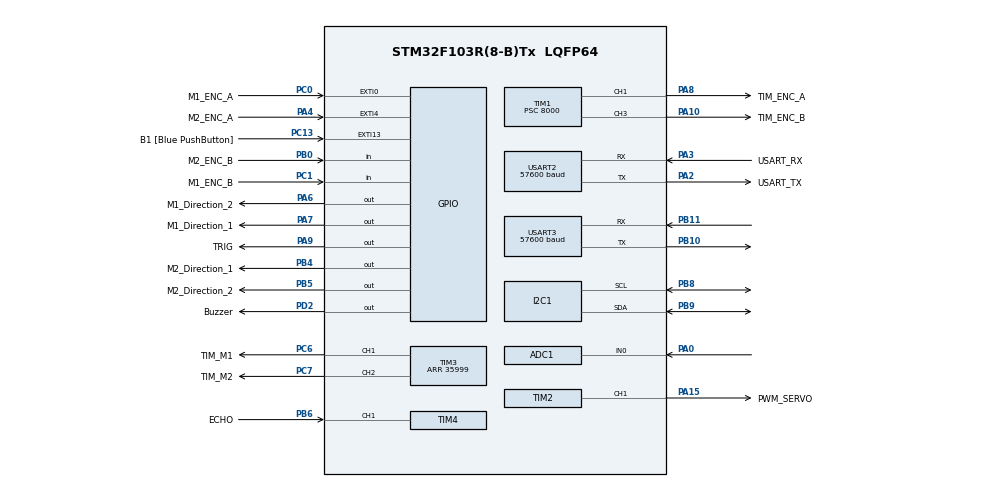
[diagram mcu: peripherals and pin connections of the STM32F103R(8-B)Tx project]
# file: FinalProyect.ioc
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ADC1.Channel-0\#ChannelRegularConversion=ADC_CHANNEL_0
ADC1.ContinuousConvMode=ENABLE
ADC1.NbrOfConversionFlag=1
ADC1.Rank-0\#ChannelRegularConversion=1
ADC1.SamplingTime-0\#ChannelRegularConversion=ADC_SAMPLETIME_28CYCLES_5
ADC1.master=1
Mcu.Family=STM32F1
Mcu.Name=STM32F103R(8-B)Tx
Mcu.Package=LQFP64
NVIC.EXTI0_IRQn=true\:0\:0\:false\:false\:true\:true\:true\:true
NVIC.EXTI15_10_IRQn=true\:0\:0\:false\:false\:true\:true\:true\:true
NVIC.EXTI4_IRQn=true\:0\:0\:false\:false\:true\:true\:true\:true
NVIC.PriorityGroup=NVIC_PRIORITYGROUP_4
NVIC.TIM1_UP_IRQn=true\:0\:0\:false\:false\:true\:true\:true\:true
NVIC.TIM4_IRQn=true\:0\:0\:false\:false\:true\:true\:true\:true
NVIC.USART3_IRQn=true\:0\:0\:false\:false\:true\:true\:true\:true
PA0-WKUP.Signal=ADCx_IN0
PA10.GPIO_Label=TIM_ENC_B
PA10.Signal=S_TIM1_CH3
PA13.GPIO_Label=TMS
PA13.Mode=Serial_Wire
PA13.Signal=SYS_JTMS-SWDIO
PA14.GPIO_Label=TCK
PA14.Mode=Serial_Wire
PA14.Signal=SYS_JTCK-SWCLK
PA15.GPIO_Label=PWM_SERVO
PA15.Signal=S_TIM2_CH1_ETR
PA2.GPIO_Label=USART_TX
PA2.GPIO_Mode=GPIO_MODE_AF_PP
PA2.GPIO_PuPd=GPIO_NOPULL
PA2.GPIO_Speed=GPIO_SPEED_FREQ_LOW
PA2.Mode=Asynchronous
PA2.Signal=USART2_TX
PA3.GPIO_Label=USART_RX
PA3.GPIO_Mode=GPIO_MODE_AF_PP
PA3.GPIO_PuPd=GPIO_NOPULL
PA3.GPIO_Speed=GPIO_SPEED_FREQ_LOW
PA3.Mode=Asynchronous
PA3.Signal=USART2_RX
PA4.GPIO_Label=M2_ENC_A
PA4.Signal=GPXTI4
PA6.GPIO_Label=M1_Direction_2
PA6.Signal=GPIO_Output
PA7.GPIO_Label=M1_Direction_1
PA7.Signal=GPIO_Output
PA8.GPIO_Label=TIM_ENC_A
PA8.Signal=S_TIM1_CH1
PA9.GPIO_Label=TRIG
PA9.Signal=GPIO_Output
PB0.GPIO_Label=M2_ENC_B
PB0.Signal=GPIO_Input
PB10.Mode=Asynchronous
PB10.Signal=USART3_TX
PB11.Mode=Asynchronous
PB11.Signal=USART3_RX
PB3.Signal=SYS_JTDO-TRACESWO
PB4.GPIO_Label=M2_Direction_1
PB4.Signal=GPIO_Output
PB5.GPIO_Label=M2_Direction_2
PB5.Signal=GPIO_Output
PB6.GPIO_Label=ECHO
PB6.Signal=S_TIM4_CH1
PB8.Mode=I2C
PB8.Signal=I2C1_SCL
PB9.Mode=I2C
PB9.Signal=I2C1_SDA
PC0.GPIO_Label=M1_ENC_A
PC0.GPIO_ModeDefaultEXTI=GPIO_MODE_IT_FALLING
PC0.Signal=GPXTI0
PC1.GPIO_Label=M1_ENC_B
PC1.GPIO_PuPd=GPIO_PULLUP
PC1.Signal=GPIO_Input
PC13-TAMPER-RTC.GPIO_Label=B1 [Blue PushButton]
PC13-TAMPER-RTC.GPIO_ModeDefaultEXTI=GPIO_MODE_IT_FALLING
PC13-TAMPER-RTC.GPIO_PuPd=GPIO_NOPULL
PC13-TAMPER-RTC.Signal=GPXTI13
PC14-OSC32_IN.Mode=LSE-External-Clock-Source
PC14-OSC32_IN.Signal=RCC_OSC32_IN
PC15-OSC32_OUT.Mode=LSE-External-Clock-Source
PC15-OSC32_OUT.Signal=RCC_OSC32_OUT
PC6.GPIO_Label=TIM_M1
PC6.Signal=S_TIM3_CH1
PC7.GPIO_Label=TIM_M2
PC7.Signal=S_TIM3_CH2
PD0-OSC_IN.Mode=HSE-External-Oscillator
PD0-OSC_IN.Signal=RCC_OSC_IN
PD1-OSC_OUT.Mode=HSE-External-Oscillator
PD1-OSC_OUT.Signal=RCC_OSC_OUT
PD2.GPIO_Label=Buzzer
PD2.Signal=GPIO_Output
ProjectManager.HeapSize=0x200
ProjectManager.StackSize=0x400
ProjectManager.TargetToolchain=STM32CubeIDE
RCC.ADCPresc=RCC_ADCPCLK2_DIV6
RCC.AHBFreq_Value=72000000
RCC.APB1CLKDivider=RCC_HCLK_DIV2
RCC.APB1Freq_Value=36000000
RCC.APB1TimFreq_Value=72000000
RCC.APB2Freq_Value=72000000
RCC.APB2TimFreq_Value=72000000
RCC.HCLKFreq_Value=72000000
RCC.PLLMUL=RCC_PLL_MUL9
RCC.PLLSourceVirtual=RCC_PLLSOURCE_HSE
RCC.RTCClockSelection=RCC_RTCCLKSOURCE_LSE
RCC.SYSCLKFreq_VALUE=72000000
RCC.SYSCLKSource=RCC_SYSCLKSOURCE_PLLCLK
RCC.USBFreq_Value=72000000
SH.ADCx_IN0.0=ADC1_IN0,IN0
SH.S_TIM1_CH1.0=TIM1_CH1,PWM Generation1 CH1
SH.S_TIM1_CH3.0=TIM1_CH3,PWM Generation3 CH3
SH.S_TIM2_CH1_ETR.0=TIM2_CH1,PWM Generation1 CH1
SH.S_TIM3_CH1.0=TIM3_CH1,PWM Generation1 CH1
SH.S_TIM3_CH2.0=TIM3_CH2,PWM Generation2 CH2
SH.S_TIM4_CH1.0=TIM4_CH1,Input_Capture1_from_TI1
TIM1.AutoReloadPreload=TIM_AUTORELOAD_PRELOAD_ENABLE
TIM1.Channel-PWM\ Generation1\ CH1=TIM_CHANNEL_1
TIM1.Channel-PWM\ Generation3\ CH3=TIM_CHANNEL_3
TIM1.Period=100-1
TIM1.Prescaler=8000
TIM2.AutoReloadPreload=TIM_AUTORELOAD_PRELOAD_DISABLE
TIM2.Channel-PWM\ Generation1\ CH1=TIM_CHANNEL_1
TIM2.Period=40000-1
TIM2.Prescaler=36-1
TIM3.Channel-PWM\ Generation1\ CH1=TIM_CHANNEL_1
TIM3.Channel-PWM\ Generation2\ CH2=TIM_CHANNEL_2
TIM3.OCFastMode_PWM-PWM\ Generation1\ CH1=TIM_OCFAST_ENABLE
TIM3.Period=35999
TIM4.Channel-Input_Capture1_from_TI1=TIM_CHANNEL_1
TIM4.Prescaler=71
USART2.BaudRate=57600
USART2.VirtualMode=VM_ASYNC
USART3.BaudRate=57600
USART3.VirtualMode=VM_ASYNC
VP_TIM1_VS_ClockSourceINT.Mode=Internal
VP_TIM2_VS_ClockSourceINT.Mode=Internal
VP_TIM3_VS_ClockSourceINT.Mode=Internal
VP_TIM4_VS_ClockSourceINT.Mode=Internal
board=NUCLEO-F103RB

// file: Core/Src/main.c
	/* USER CODE BEGIN Header */
	/**
	  ******************************************************************************
	  * @file           : main.c
	  * @brief          : Main program body
	  ******************************************************************************
	  * @attention
	  *
	  * Copyright (c) 2025 STMicroelectronics.
	  * All rights reserved.
	  *
	  * This software is licensed under terms that can be found in the LICENSE file
	  * in the root directory of this software component.
	  * If no LICENSE file comes with this software, it is provided AS-IS.
	  *
	  ******************************************************************************
	  */
	/* USER CODE END Header */
	/* Includes ------------------------------------------------------------------*/
	#include "main.h"

	/* Private includes ----------------------------------------------------------*/
	/* USER CODE BEGIN Includes */
	#include <stdbool.h>
	#include <stdio.h>
	#include <string.h>
	#include <stdlib.h>
	/* USER CODE END Includes */

	/* Private typedef -----------------------------------------------------------*/

	/* Private define ------------------------------------------------------------*/
	/* USER CODE BEGIN PD */
	#define TRIG_PIN GPIO_PIN_9
	#define TRIG_PORT GPIOA

	/* USER CODE END PD */

	/* Private macro -------------------------------------------------------------*/
	/* USER CODE BEGIN PM */
	#define BNO055_ADDR (0x28 << 1)   // Dirección I2C del BNO055 para HAL
	/* USER CODE END PM */

	/* Private variables ---------------------------------------------------------*/
	ADC_HandleTypeDef hadc1;

	I2C_HandleTypeDef hi2c1;

	TIM_HandleTypeDef htim1;
	TIM_HandleTypeDef htim2;
	TIM_HandleTypeDef htim3;
	TIM_HandleTypeDef htim4;

	UART_HandleTypeDef huart2;
	UART_HandleTypeDef huart3;

	/* USER CODE BEGIN PV */
	/* Private function prototypes -----------------------------------------------*/
	void SystemClock_Config(void);
	static void MX_GPIO_Init(void);
	static void MX_USART2_UART_Init(void);
	static void MX_ADC1_Init(void);
	static void MX_TIM1_Init(void);
	static void MX_TIM3_Init(void);
	static void MX_TIM2_Init(void);
	static void MX_TIM4_Init(void);
	static void MX_I2C1_Init(void);
	static void MX_USART3_UART_Init(void);
	/* USER CODE END PV */

	/* Private function prototypes -----------------------------------------------*/
	void SystemClock_Config(void);
	static void MX_GPIO_Init(void);
	static void MX_USART2_UART_Init(void);
	static void MX_ADC1_Init(void);
	static void MX_TIM1_Init(void);
	static void MX_TIM3_Init(void);
	static void MX_TIM2_Init(void);
	static void MX_TIM4_Init(void);
	static void MX_I2C1_Init(void);
	static void MX_USART3_UART_Init(void);
	/* USER CODE BEGIN PFP */

	void Direction(bool drive);
	void HCSR04_Read (void);
	void HAL_TIM_IC_CaptureCallback(TIM_HandleTypeDef *htim);
	void delay (uint16_t time);

	void PID_Position(float error_M1, float error_M2);
	void PID_Velocity(float error_M1, float error_M2);

	void PID_Servo(float error_serv);

	// lECTURA DE IMU
	void BNO055_Write(uint8_t reg, uint8_t value);
	uint8_t BNO055_Read(uint8_t reg);

	void get_head(void);
	extern I2C_HandleTypeDef hi2c1;
	void I2C_Scanner(void);
	/* USER CODE END PFP */

	/* Private user code ---------------------------------------------------------*/
	/* USER CODE BEGIN 0 */

	char msg[50];
	volatile uint8_t send_flag = 0;
	uint32_t isr_timestamp = 0;

	float velocity_M1;
	float velocity_M2;

	long position_M1 = 0;
	long position_M2 = 0;

	float last_position_M1 = 0;
	float last_position_M2 = 0;

	float PWM_M1 = 0;
	float PWM_M2 = 0;

	//1000 = derecha
	//2000 = recto
	//3000 = izquierda

	// VAriables UART reciver
	uint8_t rx_byte;
	char tx_buff[16];

	uint8_t last_cmd;
	uint8_t new_cmd;
	int manual_mode = 0;

	float d_time = 0.01;
	float ratio = 12 * 20.5;
	float circunference = 3.14*8.7;

	float delta_M1;
	float delta_M2;

	float target = 5;

	float distance_M1;
	float distance_M2;

	float head;
	float E_head;

	int reverse_servo = 0;

	// Setup of variables
	   float Vn = 50.0f; // cm/s
	   float accel = 2.0f;
	   float deccel = 2.0f;
	   float t1 = 2.0f; // aceleration time = 2 seconds
	   float t2 =8.0f; // starting deceleration slope
	   float T = 10.0f; // finishing movement
	   // deceleration time = 2 seconds
	   float SP_Pos = 0.0f;
	   float SP_Vel_M1 = 0.0f;
	   float SP_Vel_M2 = 0.0f;

	   float Error_Pos_M1 = 0.0f;
	   float Error_Vel_M1 = 0.0f;
	   float Error_Pos_M2 = 0.0f;
	   float Error_Vel_M2 = 0.0f;

	   float Corrected_Pos_M1 = 0.0f;
	   float Corrected_Vel_M1 = 0.0f;

	   float Corrected_Pos_M2 = 0.0f;
	   float Corrected_Vel_M2 = 0.0f;

	   float time_ctl = 0.0f;
	   int state = 1;

	   float turn = 0;
	   int emergency_stop = 0;

			int Saved_SP_Vel_M1 = 0;
			int Saved_SP_Vel_M2 = 0;
			int Saved_PWM_M1 = 0;
			int Saved_PWM_M2 = 0;
			int pause = 0;

	uint32_t IC_Val1 = 0;
	uint32_t IC_Val2 = 0;
	uint32_t Difference = 0;
	uint8_t Is_First_Captured = 0;  // is the first value captured ?
	uint32_t Distance  = 0;
	int start = 0;

	int timer_flag = 1;

	float last_ctl = 0;
	float dt;

uint8_t buffer[1];

	/* USER CODE END 0 */

	/**
	  * @brief  The application entry point.
	  * @retval int
	  */
	int main(void)
	{

	  /* MCU Configuration--------------------------------------------------------*/

	  /* Reset of all peripherals, Initializes the Flash interface and the Systick. */
	  HAL_Init();

	  /* Configure the system clock */
	  SystemClock_Config();

	  /* Initialize all configured peripherals */
	  MX_GPIO_Init();
	  MX_USART2_UART_Init();
	  MX_ADC1_Init();
	  MX_TIM1_Init();
	  MX_TIM3_Init();
	  MX_TIM2_Init();
	  MX_TIM4_Init();
	  MX_I2C1_Init();
	  MX_USART3_UART_Init();
	  /* USER CODE BEGIN 2 */
	  // TIME INTERRUPT
	  HAL_TIM_Base_Start_IT(&htim1);
	  // PMW SERVO
	  HAL_TIM_PWM_Start(&htim2, TIM_CHANNEL_1);

	  // PWM MOTORS
	  HAL_TIM_PWM_Start(&htim3, TIM_CHANNEL_1);
	  HAL_TIM_PWM_Start(&htim3, TIM_CHANNEL_2);
	  // Signal ultrasonic
	  HAL_TIM_IC_Start_IT(&htim4, TIM_CHANNEL_1);

	  // Telecom interrupt
	  HAL_UART_Receive_IT(&huart3, &rx_byte, 1);

	  HAL_NVIC_SetPriority(TIM1_UP_TIM10_IRQn, 0, 0);
	  HAL_NVIC_SetPriority(TIM3_IRQn,         1, 0);
	  HAL_NVIC_SetPriority(TIM4_IRQn,         3, 0);

	  /* USER CODE END 2 */

	  /* Infinite loop */
	  /* USER CODE BEGIN WHILE */

		I2C_Scanner();
		Direction(0);

		// Leer ID para verificar sensor
		uint8_t id = BNO055_Read(0x00);

		if(id != 0xA0) {
			// ERROR: Sensor no detectado -> print once and go to safe idle (don't busy-loop UART)
			sprintf(msg, "Error en la conexion del BNO055: ID = 0x%02X\r\n", id);
			HAL_UART_Transmit(&huart3, (uint8_t*)msg, strlen(msg), 100);
			// safe idle to allow interrupts and debugger; blink or delay instead of continuous printing
			while(1)
			{
				HAL_Delay(500);
			}
		}

		// Cambiar a CONFIG MODE
		BNO055_Write(0x3D, 0x00);
		HAL_Delay(25);

		// Cambiar a NDOF (9DOF fusion)
		BNO055_Write(0x3D, 0x0C);
		HAL_Delay(20);

    while (1)
    {
    int time_manual = 0;
    int CH1_DC = 0;
    while (manual_mode)
    {
        if (timer_flag) {   // 1ms timer tick
            time_manual += 1;
            timer_flag = 0;
        }

        // every 100ms
        if (time_manual >= 100)
        {
            time_manual = 0;

            // If no new key received, stop motors
            if (!new_cmd) {
                last_cmd = 0;
            }

            new_cmd = 0; // consume key

            switch (last_cmd)
            {
                case 0:
                    CH1_DC = 0;
                    TIM3->CCR1 = CH1_DC;
                    TIM3->CCR2 = CH1_DC;
                    break;

                case 'w':  // forward
                    Direction(0);
                    CH1_DC += 1000;
                    if (CH1_DC > 40000) CH1_DC = 40000;

                    TIM3->CCR1 = CH1_DC;
                    TIM3->CCR2 = CH1_DC;
                    break;

                case 'a':  // left
                    turn += 5;
                    if (turn >= 360) turn = 0;
                    get_head();
                    PID_Servo(E_head);
                    break;

                case 's':  // backward
                    Direction(1);   // backward direction?
                    CH1_DC += 1000;
                    if (CH1_DC > 40000) CH1_DC = 40000;

                    TIM3->CCR1 = CH1_DC;
                    TIM3->CCR2 = CH1_DC;
                    break;

                case 'd':  // right
                    turn -= 5;
                    if (turn < 0) turn = 360;
                    get_head();
                    PID_Servo(E_head);
                    break;
            }
        }

        HAL_Delay(1);  // small delay but not blocking too much
    }

    /* USER CODE END WHILE */

		/* USER CODE BEGIN 3 */

//		  HCSR04_Read();
		  get_head();        // keep reading IMU in main loop

//		  if (Distance < 30)
//		  {
//
//		      emergency_stop = 1;
//		      state = 0;
//
//		      TIM3->CCR1 = 0;
//		      TIM3->CCR2 = 0;
//
//		      timer_flag = 0;
//		      HAL_Delay(3000);
//		  }

			// If timer_flag is set (TIM1 fired), run control computations here (outside ISR)
		if (timer_flag)
		{
			timer_flag = 0;

			//isr_timestamp = HAL_GetTick();
			//time_ctl = (float)isr_timestamp / 1000.0f;

			time_ctl += 0.01;

			// Copy encoder positions atomically
			__disable_irq();
			long pos1 = position_M1;
			long pos2 = position_M2;
			__enable_irq();

			// Compute distances and velocities
			distance_M1 = (pos1 * circunference) / ratio;
			delta_M1    = distance_M1 - last_position_M1;
			velocity_M1 = delta_M1 / d_time;
			last_position_M1 = distance_M1;

			distance_M2 = (pos2 * circunference) / ratio;
			delta_M2    = distance_M2 - last_position_M2;
			velocity_M2 = delta_M2 / d_time;
			last_position_M2 = distance_M2;

			//---------------------------------------------------------------------
			// TRAPEZOIDAL PROFILE HERE
			//---------------------------------------------------------------------
			if (state != 0)
			{
				float t = time_ctl;

				switch (state)
				{
					case 0:
						SP_Vel_M1 = 0;
						SP_Vel_M2 = 0;
						break;
					case 1: // ACCEL
						SP_Vel_M1 = (t / t1) * Vn;
						SP_Vel_M2 = SP_Vel_M1;
						SP_Pos    = 0.5f * SP_Vel_M1 * t;

						if (t >= t1)
							state = 2;
						break;

					case 2: // CRUISE
						SP_Vel_M1 = Vn;
						SP_Vel_M2 = Vn;
						SP_Pos = (0.5f * t1 * Vn) +
								 Vn * (t - t1);

						if (t >= t2)
							state = 3;
						break;

					case 3: // DECCEL
					{
						float vel_dec = Vn * (T - t) / (T - t2);

						SP_Vel_M1 = vel_dec;
						SP_Vel_M2 = vel_dec;

						SP_Pos = (0.5f * t1 * Vn) +
								 Vn * (t2 - t1) +
								 0.5f * (Vn + vel_dec) * (t - t2);

						if (t >= T)
						{
							SP_Vel_M1 = 0;
							SP_Vel_M2 = 0;

							//state = 0;
						}

					break;
					}

					default:
						state = 0;
						break;

				}
			}

			//---------------------------------------------------------------------

			// Compute errors AFTER generating SP_Pos / SP_Vel
			Error_Pos_M1 = SP_Pos - distance_M1;
			Error_Vel_M1 = SP_Vel_M1 - velocity_M1;

			Error_Pos_M2 = SP_Pos - distance_M2;
			Error_Vel_M2 = SP_Vel_M2 - velocity_M2;

			PID_Position(Error_Pos_M1, Error_Pos_M2);
			PID_Velocity(Error_Vel_M1, Error_Vel_M2);

			send_flag = 1;
		}

		  PID_Servo(E_head);

		  // Optional: start motion on some condition (kept commented as in original)
		  /*
		  if (start == 1)
		  {
			  Vn = 90.0f;
			  t1 = 2.0f;
			  t2 = 8.0f;
			  T = 10.0f;
			  SP_Pos = 0.0f;
			  time_ctl = 0.0f;
			  state = 1;
			  HAL_TIM_Base_Start_IT(&htim1);
			  start = 0;
		  }
		  */

		  // UART telemetry: non-blocking
		  if (send_flag)
		  {
			  send_flag = 0;
			  // compose telemetry safely and send (small, infrequent)
			  int len = snprintf(msg, sizeof(msg), "%lu, v1=%.3f, v2=%.3f, h=%.2f\r\n",
								 (unsigned long)isr_timestamp, velocity_M1, velocity_M2, head);
			  if (len > 0) HAL_UART_Transmit(&huart3, (uint8_t*)msg, (uint16_t)len, 20);
		  }

		}
	  /* USER CODE END 3 */
	}

	/**
	  * @brief System Clock Configuration
	  * @retval None
	  */
	void SystemClock_Config(void)
	{
	  RCC_OscInitTypeDef RCC_OscInitStruct = {0};
	  RCC_ClkInitTypeDef RCC_ClkInitStruct = {0};
	  RCC_PeriphCLKInitTypeDef PeriphClkInit = {0};

	  /** Initializes the RCC Oscillators according to the specified parameters
	  * in the RCC_OscInitTypeDef structure.
	  */
	  RCC_OscInitStruct.OscillatorType = RCC_OSCILLATORTYPE_HSE;
	  RCC_OscInitStruct.HSEState = RCC_HSE_ON;
	  RCC_OscInitStruct.HSEPredivValue = RCC_HSE_PREDIV_DIV1;
	  RCC_OscInitStruct.HSIState = RCC_HSI_ON;
	  RCC_OscInitStruct.PLL.PLLState = RCC_PLL_ON;
	  RCC_OscInitStruct.PLL.PLLSource = RCC_PLLSOURCE_HSE;
	  RCC_OscInitStruct.PLL.PLLMUL = RCC_PLL_MUL9;
	  if (HAL_RCC_OscConfig(&RCC_OscInitStruct) != HAL_OK)
	  {
		Error_Handler();
	  }

	  /** Initializes the CPU, AHB and APB buses clocks
	  */
	  RCC_ClkInitStruct.ClockType = RCC_CLOCKTYPE_HCLK|RCC_CLOCKTYPE_SYSCLK
								  |RCC_CLOCKTYPE_PCLK1|RCC_CLOCKTYPE_PCLK2;
	  RCC_ClkInitStruct.SYSCLKSource = RCC_SYSCLKSOURCE_PLLCLK;
	  RCC_ClkInitStruct.AHBCLKDivider = RCC_SYSCLK_DIV1;
	  RCC_ClkInitStruct.APB1CLKDivider = RCC_HCLK_DIV2;
	  RCC_ClkInitStruct.APB2CLKDivider = RCC_HCLK_DIV1;

	  if (HAL_RCC_ClockConfig(&RCC_ClkInitStruct, FLASH_LATENCY_2) != HAL_OK)
	  {
		Error_Handler();
	  }
	  PeriphClkInit.PeriphClockSelection = RCC_PERIPHCLK_ADC;
	  PeriphClkInit.AdcClockSelection = RCC_ADCPCLK2_DIV6;
	  if (HAL_RCCEx_PeriphCLKConfig(&PeriphClkInit) != HAL_OK)
	  {
		Error_Handler();
	  }
	}

	/**
	  * @brief ADC1 Initialization Function
	  * @param None
	  * @retval None
	  */
	static void MX_ADC1_Init(void)
	{

	  ADC_ChannelConfTypeDef sConfig = {0};

	  /** Common config
	  */
	  hadc1.Instance = ADC1;
	  hadc1.Init.ScanConvMode = ADC_SCAN_DISABLE;
	  hadc1.Init.ContinuousConvMode = ENABLE;
	  hadc1.Init.DiscontinuousConvMode = DISABLE;
	  hadc1.Init.ExternalTrigConv = ADC_SOFTWARE_START;
	  hadc1.Init.DataAlign = ADC_DATAALIGN_RIGHT;
	  hadc1.Init.NbrOfConversion = 1;
	  if (HAL_ADC_Init(&hadc1) != HAL_OK)
	  {
		Error_Handler();
	  }

	  /** Configure Regular Channel
	  */
	  sConfig.Channel = ADC_CHANNEL_0;
	  sConfig.Rank = ADC_REGULAR_RANK_1;
	  sConfig.SamplingTime = ADC_SAMPLETIME_28CYCLES_5;
	  if (HAL_ADC_ConfigChannel(&hadc1, &sConfig) != HAL_OK)
	  {
		Error_Handler();
	  }

	}

	/**
	  * @brief I2C1 Initialization Function
	  * @param None
	  * @retval None
	  */
	static void MX_I2C1_Init(void)
	{

	  hi2c1.Instance = I2C1;
	  hi2c1.Init.ClockSpeed = 100000;
	  hi2c1.Init.DutyCycle = I2C_DUTYCYCLE_2;
	  hi2c1.Init.OwnAddress1 = 0;
	  hi2c1.Init.AddressingMode = I2C_ADDRESSINGMODE_7BIT;
	  hi2c1.Init.DualAddressMode = I2C_DUALADDRESS_DISABLE;
	  hi2c1.Init.OwnAddress2 = 0;
	  hi2c1.Init.GeneralCallMode = I2C_GENERALCALL_DISABLE;
	  hi2c1.Init.NoStretchMode = I2C_NOSTRETCH_DISABLE;
	  if (HAL_I2C_Init(&hi2c1) != HAL_OK)
	  {
		Error_Handler();
	  }

	}

	/**
	  * @brief TIM1 Initialization Function
	  * @param None
	  * @retval None
	  */
	static void MX_TIM1_Init(void)
	{

	  TIM_ClockConfigTypeDef sClockSourceConfig = {0};
	  TIM_MasterConfigTypeDef sMasterConfig = {0};
	  TIM_OC_InitTypeDef sConfigOC = {0};
	  TIM_BreakDeadTimeConfigTypeDef sBreakDeadTimeConfig = {0};

	  htim1.Instance = TIM1;
	  htim1.Init.Prescaler = 800;
	  htim1.Init.CounterMode = TIM_COUNTERMODE_UP;
	  htim1.Init.Period = 1000-1;
	  htim1.Init.ClockDivision = TIM_CLOCKDIVISION_DIV1;
	  htim1.Init.RepetitionCounter = 0;
	  htim1.Init.AutoReloadPreload = TIM_AUTORELOAD_PRELOAD_ENABLE;
	  if (HAL_TIM_Base_Init(&htim1) != HAL_OK)
	  {
		Error_Handler();
	  }
	  sClockSourceConfig.ClockSource = TIM_CLOCKSOURCE_INTERNAL;
	  if (HAL_TIM_ConfigClockSource(&htim1, &sClockSourceConfig) != HAL_OK)
	  {
		Error_Handler();
	  }
	  if (HAL_TIM_PWM_Init(&htim1) != HAL_OK)
	  {
		Error_Handler();
	  }
	  sMasterConfig.MasterOutputTrigger = TIM_TRGO_RESET;
	  sMasterConfig.MasterSlaveMode = TIM_MASTERSLAVEMODE_DISABLE;
	  if (HAL_TIMEx_MasterConfigSynchronization(&htim1, &sMasterConfig) != HAL_OK)
	  {
		Error_Handler();
	  }
	  sConfigOC.OCMode = TIM_OCMODE_PWM1;
	  sConfigOC.Pulse = 0;
	  sConfigOC.OCPolarity = TIM_OCPOLARITY_HIGH;
	  sConfigOC.OCNPolarity = TIM_OCNPOLARITY_HIGH;
	  sConfigOC.OCFastMode = TIM_OCFAST_DISABLE;
	  sConfigOC.OCIdleState = TIM_OCIDLESTATE_RESET;
	  sConfigOC.OCNIdleState = TIM_OCNIDLESTATE_RESET;
	  if (HAL_TIM_PWM_ConfigChannel(&htim1, &sConfigOC, TIM_CHANNEL_1) != HAL_OK)
	  {
		Error_Handler();
	  }
	  if (HAL_TIM_PWM_ConfigChannel(&htim1, &sConfigOC, TIM_CHANNEL_3) != HAL_OK)
	  {
		Error_Handler();
	  }
	  sBreakDeadTimeConfig.OffStateRunMode = TIM_OSSR_DISABLE;
	  sBreakDeadTimeConfig.OffStateIDLEMode = TIM_OSSI_DISABLE;
	  sBreakDeadTimeConfig.LockLevel = TIM_LOCKLEVEL_OFF;
	  sBreakDeadTimeConfig.DeadTime = 0;
	  sBreakDeadTimeConfig.BreakState = TIM_BREAK_DISABLE;
	  sBreakDeadTimeConfig.BreakPolarity = TIM_BREAKPOLARITY_HIGH;
	  sBreakDeadTimeConfig.AutomaticOutput = TIM_AUTOMATICOUTPUT_DISABLE;
	  if (HAL_TIMEx_ConfigBreakDeadTime(&htim1, &sBreakDeadTimeConfig) != HAL_OK)
	  {
		Error_Handler();
	  }
	  HAL_TIM_MspPostInit(&htim1);

	}

	/**
	  * @brief TIM2 Initialization Function
	  * @param None
	  * @retval None
	  */
	static void MX_TIM2_Init(void)
	{

	  TIM_ClockConfigTypeDef sClockSourceConfig = {0};
	  TIM_MasterConfigTypeDef sMasterConfig = {0};
	  TIM_OC_InitTypeDef sConfigOC = {0};

	  htim2.Instance = TIM2;
	  htim2.Init.Prescaler = 36-1;
	  htim2.Init.CounterMode = TIM_COUNTERMODE_UP;
	  htim2.Init.Period = 40000-1;
	  htim2.Init.ClockDivision = TIM_CLOCKDIVISION_DIV1;
	  htim2.Init.AutoReloadPreload = TIM_AUTORELOAD_PRELOAD_DISABLE;
	  if (HAL_TIM_Base_Init(&htim2) != HAL_OK)
	  {
		Error_Handler();
	  }
	  sClockSourceConfig.ClockSource = TIM_CLOCKSOURCE_INTERNAL;
	  if (HAL_TIM_ConfigClockSource(&htim2, &sClockSourceConfig) != HAL_OK)
	  {
		Error_Handler();
	  }
	  if (HAL_TIM_PWM_Init(&htim2) != HAL_OK)
	  {
		Error_Handler();
	  }
	  sMasterConfig.MasterOutputTrigger = TIM_TRGO_RESET;
	  sMasterConfig.MasterSlaveMode = TIM_MASTERSLAVEMODE_DISABLE;
	  if (HAL_TIMEx_MasterConfigSynchronization(&htim2, &sMasterConfig) != HAL_OK)
	  {
		Error_Handler();
	  }
	  sConfigOC.OCMode = TIM_OCMODE_PWM1;
	  sConfigOC.Pulse = 0;
	  sConfigOC.OCPolarity = TIM_OCPOLARITY_HIGH;
	  sConfigOC.OCFastMode = TIM_OCFAST_DISABLE;
	  if (HAL_TIM_PWM_ConfigChannel(&htim2, &sConfigOC, TIM_CHANNEL_1) != HAL_OK)
	  {
		Error_Handler();
	  }
	  HAL_TIM_MspPostInit(&htim2);

	}

	/**
	  * @brief TIM3 Initialization Function
	  * @param None
	  * @retval None
	  */
	static void MX_TIM3_Init(void)
	{

	  TIM_ClockConfigTypeDef sClockSourceConfig = {0};
	  TIM_MasterConfigTypeDef sMasterConfig = {0};
	  TIM_OC_InitTypeDef sConfigOC = {0};

	  htim3.Instance = TIM3;
	  htim3.Init.Prescaler = 0;
	  htim3.Init.CounterMode = TIM_COUNTERMODE_UP;
	  htim3.Init.Period = 35999;
	  htim3.Init.ClockDivision = TIM_CLOCKDIVISION_DIV1;
	  htim3.Init.AutoReloadPreload = TIM_AUTORELOAD_PRELOAD_DISABLE;
	  if (HAL_TIM_Base_Init(&htim3) != HAL_OK)
	  {
		Error_Handler();
	  }
	  sClockSourceConfig.ClockSource = TIM_CLOCKSOURCE_INTERNAL;
	  if (HAL_TIM_ConfigClockSource(&htim3, &sClockSourceConfig) != HAL_OK)
	  {
		Error_Handler();
	  }
	  if (HAL_TIM_PWM_Init(&htim3) != HAL_OK)
	  {
		Error_Handler();
	  }
	  sMasterConfig.MasterOutputTrigger = TIM_TRGO_RESET;
	  sMasterConfig.MasterSlaveMode = TIM_MASTERSLAVEMODE_DISABLE;
	  if (HAL_TIMEx_MasterConfigSynchronization(&htim3, &sMasterConfig) != HAL_OK)
	  {
		Error_Handler();
	  }
	  sConfigOC.OCMode = TIM_OCMODE_PWM1;
	  sConfigOC.Pulse = 0;
	  sConfigOC.OCPolarity = TIM_OCPOLARITY_HIGH;
	  sConfigOC.OCFastMode = TIM_OCFAST_ENABLE;
	  if (HAL_TIM_PWM_ConfigChannel(&htim3, &sConfigOC, TIM_CHANNEL_1) != HAL_OK)
	  {
		Error_Handler();
	  }
	  sConfigOC.OCFastMode = TIM_OCFAST_DISABLE;
	  if (HAL_TIM_PWM_ConfigChannel(&htim3, &sConfigOC, TIM_CHANNEL_2) != HAL_OK)
	  {
		Error_Handler();
	  }
	  HAL_TIM_MspPostInit(&htim3);

	}

	/**
	  * @brief TIM4 Initialization Function
	  * @param None
	  * @retval None
	  */
	static void MX_TIM4_Init(void)
	{

	  TIM_ClockConfigTypeDef sClockSourceConfig = {0};
	  TIM_MasterConfigTypeDef sMasterConfig = {0};
	  TIM_IC_InitTypeDef sConfigIC = {0};

	  htim4.Instance = TIM4;
	  htim4.Init.Prescaler = 71;
	  htim4.Init.CounterMode = TIM_COUNTERMODE_UP;
	  htim4.Init.Period = 65535;
	  htim4.Init.ClockDivision = TIM_CLOCKDIVISION_DIV1;
	  htim4.Init.AutoReloadPreload = TIM_AUTORELOAD_PRELOAD_DISABLE;
	  if (HAL_TIM_Base_Init(&htim4) != HAL_OK)
	  {
		Error_Handler();
	  }
	  sClockSourceConfig.ClockSource = TIM_CLOCKSOURCE_INTERNAL;
	  if (HAL_TIM_ConfigClockSource(&htim4, &sClockSourceConfig) != HAL_OK)
	  {
		Error_Handler();
	  }
	  if (HAL_TIM_IC_Init(&htim4) != HAL_OK)
	  {
		Error_Handler();
	  }
	  sMasterConfig.MasterOutputTrigger = TIM_TRGO_RESET;
	  sMasterConfig.MasterSlaveMode = TIM_MASTERSLAVEMODE_DISABLE;
	  if (HAL_TIMEx_MasterConfigSynchronization(&htim4, &sMasterConfig) != HAL_OK)
	  {
		Error_Handler();
	  }
	  sConfigIC.ICPolarity = TIM_INPUTCHANNELPOLARITY_RISING;
	  sConfigIC.ICSelection = TIM_ICSELECTION_DIRECTTI;
	  sConfigIC.ICPrescaler = TIM_ICPSC_DIV1;
	  sConfigIC.ICFilter = 0;
	  if (HAL_TIM_IC_ConfigChannel(&htim4, &sConfigIC, TIM_CHANNEL_1) != HAL_OK)
	  {
		Error_Handler();
	  }

	}

	/**
	  * @brief USART2 Initialization Function
	  * @param None
	  * @retval None
	  */
	static void MX_USART2_UART_Init(void)
	{

	  huart2.Instance = USART2;
	  huart2.Init.BaudRate = 57600;
	  huart2.Init.WordLength = UART_WORDLENGTH_8B;
	  huart2.Init.StopBits = UART_STOPBITS_1;
	  huart2.Init.Parity = UART_PARITY_NONE;
	  huart2.Init.Mode = UART_MODE_TX_RX;
	  huart2.Init.HwFlowCtl = UART_HWCONTROL_NONE;
	  huart2.Init.OverSampling = UART_OVERSAMPLING_16;
	  if (HAL_UART_Init(&huart2) != HAL_OK)
	  {
		Error_Handler();
	  }

	}

	/**
	  * @brief USART3 Initialization Function
	  * @param None
	  * @retval None
	  */
	static void MX_USART3_UART_Init(void)
	{

  huart3.Instance = USART3;
  huart3.Init.BaudRate = 9600;
  huart3.Init.WordLength = UART_WORDLENGTH_8B;
  huart3.Init.StopBits = UART_STOPBITS_1;
  huart3.Init.Parity = UART_PARITY_NONE;
  huart3.Init.Mode = UART_MODE_TX_RX;
  huart3.Init.HwFlowCtl = UART_HWCONTROL_NONE;
  huart3.Init.OverSampling = UART_OVERSAMPLING_16;
  if (HAL_UART_Init(&huart3) != HAL_OK)
  {
    Error_Handler();
  }

	}

	/**
	  * @brief GPIO Initialization Function
	  * @param None
	  * @retval None
	  */
	static void MX_GPIO_Init(void)
	{
	  GPIO_InitTypeDef GPIO_InitStruct = {0};

	  /* GPIO Ports Clock Enable */
	  __HAL_RCC_GPIOC_CLK_ENABLE();
	  __HAL_RCC_GPIOD_CLK_ENABLE();
	  __HAL_RCC_GPIOA_CLK_ENABLE();
	  __HAL_RCC_GPIOB_CLK_ENABLE();

	  /*Configure GPIO pin Output Level */
	  HAL_GPIO_WritePin(GPIOA, M1_Direction_2_Pin|M1_Direction_1_Pin|TRIG_Pin, GPIO_PIN_RESET);

	  /*Configure GPIO pin Output Level */
	  HAL_GPIO_WritePin(GPIOB, M2_Direction_1_Pin|M2_Direction_2_Pin, GPIO_PIN_RESET);

	  /*Configure GPIO pins : B1_Pin M1_ENC_A_Pin */
	  GPIO_InitStruct.Pin = B1_Pin|M1_ENC_A_Pin;
	  GPIO_InitStruct.Mode = GPIO_MODE_IT_FALLING;
	  GPIO_InitStruct.Pull = GPIO_NOPULL;
	  HAL_GPIO_Init(GPIOC, &GPIO_InitStruct);

	  /*Configure GPIO pin : M1_ENC_B_Pin */
	  GPIO_InitStruct.Pin = M1_ENC_B_Pin;
	  GPIO_InitStruct.Mode = GPIO_MODE_INPUT;
	  GPIO_InitStruct.Pull = GPIO_PULLUP;
	  HAL_GPIO_Init(M1_ENC_B_GPIO_Port, &GPIO_InitStruct);

	  /*Configure GPIO pin : M2_ENC_A_Pin */
	  GPIO_InitStruct.Pin = M2_ENC_A_Pin;
	  GPIO_InitStruct.Mode = GPIO_MODE_IT_RISING;
	  GPIO_InitStruct.Pull = GPIO_NOPULL;
	  HAL_GPIO_Init(M2_ENC_A_GPIO_Port, &GPIO_InitStruct);

	  /*Configure GPIO pins : M1_Direction_2_Pin M1_Direction_1_Pin TRIG_Pin */
	  GPIO_InitStruct.Pin = M1_Direction_2_Pin|M1_Direction_1_Pin|TRIG_Pin;
	  GPIO_InitStruct.Mode = GPIO_MODE_OUTPUT_PP;
	  GPIO_InitStruct.Pull = GPIO_NOPULL;
	  GPIO_InitStruct.Speed = GPIO_SPEED_FREQ_LOW;
	  HAL_GPIO_Init(GPIOA, &GPIO_InitStruct);

	  /*Configure GPIO pin : M2_ENC_B_Pin */
	  GPIO_InitStruct.Pin = M2_ENC_B_Pin;
	  GPIO_InitStruct.Mode = GPIO_MODE_INPUT;
	  GPIO_InitStruct.Pull = GPIO_NOPULL;
	  HAL_GPIO_Init(M2_ENC_B_GPIO_Port, &GPIO_InitStruct);

	  /*Configure GPIO pins : M2_Direction_1_Pin M2_Direction_2_Pin */
	  GPIO_InitStruct.Pin = M2_Direction_1_Pin|M2_Direction_2_Pin;
	  GPIO_InitStruct.Mode = GPIO_MODE_OUTPUT_PP;
	  GPIO_InitStruct.Pull = GPIO_NOPULL;
	  GPIO_InitStruct.Speed = GPIO_SPEED_FREQ_LOW;
	  HAL_GPIO_Init(GPIOB, &GPIO_InitStruct);

	  /* EXTI interrupt init*/
	  HAL_NVIC_SetPriority(EXTI0_IRQn, 0, 0);
	  HAL_NVIC_EnableIRQ(EXTI0_IRQn);

	  HAL_NVIC_SetPriority(EXTI4_IRQn, 0, 0);
	  HAL_NVIC_EnableIRQ(EXTI4_IRQn);

	  HAL_NVIC_SetPriority(EXTI15_10_IRQn, 0, 0);
	  HAL_NVIC_EnableIRQ(EXTI15_10_IRQn);

	}

	/* USER CODE BEGIN 4 */

	void Direction(bool drive)
	{
		if(drive){
			 HAL_GPIO_WritePin(M1_Direction_1_GPIO_Port, M1_Direction_1_Pin, GPIO_PIN_SET);
			 HAL_GPIO_WritePin(M1_Direction_2_GPIO_Port, M1_Direction_2_Pin, GPIO_PIN_RESET);

			 HAL_GPIO_WritePin(M2_Direction_1_GPIO_Port, M2_Direction_1_Pin, GPIO_PIN_SET);
			 HAL_GPIO_WritePin(M2_Direction_2_GPIO_Port, M2_Direction_2_Pin, GPIO_PIN_RESET);

			 reverse_servo = -1;
		}
		else
		{
			 HAL_GPIO_WritePin(M1_Direction_1_GPIO_Port, M1_Direction_1_Pin, GPIO_PIN_RESET);
			 HAL_GPIO_WritePin(M1_Direction_2_GPIO_Port, M1_Direction_2_Pin, GPIO_PIN_SET);

			 HAL_GPIO_WritePin(M2_Direction_1_GPIO_Port, M2_Direction_1_Pin, GPIO_PIN_RESET);
			 HAL_GPIO_WritePin(M2_Direction_2_GPIO_Port, M2_Direction_2_Pin, GPIO_PIN_SET);

			 reverse_servo = 1;
		}
	}

	//-------------------------------------------------
	// STandard pin interrupts
	//____________________________________________________
	void HAL_GPIO_EXTI_Callback(uint16_t GPIO_Pin)
	 {

		if (GPIO_Pin == GPIO_PIN_13)
		{
			static uint32_t last_press = 0;
			uint32_t now = HAL_GetTick();
			if (now - last_press > 200) // 200 ms debounce
			{
				position_M1 = 0;
				position_M2 = 0;
				last_press = now;
			}
		}

		else if (GPIO_Pin == M1_ENC_A_Pin)
		{
			if (HAL_GPIO_ReadPin(M1_ENC_B_GPIO_Port, M1_ENC_B_Pin) == GPIO_PIN_SET)
				position_M1++;
			else
				position_M1--;
			//HAL_GPIO_TogglePin(GPIOC, GPIO_PIN_13);
		}
		else if (GPIO_Pin == M2_ENC_A_Pin)
		{
			if (HAL_GPIO_ReadPin(M2_ENC_B_GPIO_Port, M2_ENC_B_Pin) == GPIO_PIN_SET)
				position_M2--;
			else
				position_M2++;
			// HAL_GPIO_TogglePin(GPIOC, GPIO_PIN_13);
		}
	 }
	// -------------------------------------------------------------------
	// Time interrupts
	void HAL_TIM_PeriodElapsedCallback(TIM_HandleTypeDef *htim)
	{
		if (htim->Instance == TIM1)
		{

			timer_flag = 1;
			// do not call heavy math or HAL blocking functions here

		}
	}

	//------------------------------------------------------------
	// Ultrasonic sensor code
	//-------------------------------------------------------------

	void HAL_TIM_IC_CaptureCallback(TIM_HandleTypeDef *htim)
	{
		if (htim->Instance == TIM4 && htim->Channel == HAL_TIM_ACTIVE_CHANNEL_1)
		{
			if (Is_First_Captured == 0)
			{
				IC_Val1 = HAL_TIM_ReadCapturedValue(htim, TIM_CHANNEL_1);
				__HAL_TIM_SET_COUNTER(htim, 0); // reset timer HERE
				Is_First_Captured = 1;

				__HAL_TIM_SET_CAPTUREPOLARITY(htim, TIM_CHANNEL_1, TIM_INPUTCHANNELPOLARITY_FALLING);
			}
			else
			{
				IC_Val2 = HAL_TIM_ReadCapturedValue(htim, TIM_CHANNEL_1);

				Difference = IC_Val2;
				Distance = Difference * 0.034 / 2;

				Is_First_Captured = 0;

				__HAL_TIM_SET_CAPTUREPOLARITY(htim, TIM_CHANNEL_1, TIM_INPUTCHANNELPOLARITY_RISING);
			}
		}
	}

	void PID_Position(float error_M1, float error_M2)
	{
		static float integral_M1 = 0;
		static float last_error_M1 = 0;

		static float integral_M2 = 0;
		static float last_error_M2 = 0;

		/* Outer-loop gains must be small */
		static float Kp_M1 = 1.1;
		static int Ki_M1 = 0;
		static int Kd_M1 = 0;

		static float Kp_M2 = 1.1;
		static int Ki_M2 = 0;
		static int Kd_M2 = 0;

		/* Anti-windup */
		int INTEGRAL_MAX = 40;
		int INTEGRAL_MIN = -40;

		integral_M1 += error_M1 * d_time;
		integral_M2 += error_M2 * d_time;

		if (integral_M1 > INTEGRAL_MAX) integral_M1 = INTEGRAL_MAX;
		if (integral_M1 < INTEGRAL_MIN) integral_M1 = INTEGRAL_MIN;

		if (integral_M2 > INTEGRAL_MAX) integral_M2 = INTEGRAL_MAX;
		if (integral_M2 < INTEGRAL_MIN) integral_M2 = INTEGRAL_MIN;

		float derivative_M1 = (error_M1 - last_error_M1) / d_time;
		last_error_M1 = error_M1;

		float derivative_M2 = (error_M2 - last_error_M2) / d_time;
		last_error_M2 = error_M2;

		float Corrected_Pos_M1 =
				(Kp_M1 * error_M1) +
				(Ki_M1 * integral_M1) +
				(Kd_M1 * derivative_M1);

		float Corrected_Pos_M2 =
				(Kp_M2 * error_M2) +
				(Ki_M2 * integral_M2) +
				(Kd_M2 * derivative_M2);

		SP_Vel_M1 += Corrected_Pos_M1 + Vn;
		SP_Vel_M2 += Corrected_Pos_M2 + Vn;

		//Clamping
		if (Corrected_Pos_M1> 120) SP_Vel_M1 = 120;
		if (Corrected_Pos_M1< 0) SP_Vel_M1 = 0;

		if (Corrected_Pos_M1> 120) SP_Vel_M1 = 120;
		if (Corrected_Pos_M1< 0) SP_Vel_M1 = 0;

	}

	void PID_Velocity(float error_M1, float error_M2)
	{
		static int integral_M1 = 0;
		static int last_error_M1 = 0;

		static int integral_M2 = 0;
		static int last_error_M2 = 0;

	   /* Outer-loop gains must be small */
		static int Kp_M1 = 90;
		static int Ki_M1 = 20;
		static int Kd_M1 = 1;

		static int Kp_M2 = 90;
		static int Ki_M2 = 20;
		static int Kd_M2 = 1;

		/* Anti-windup limits */
		const int INTEGRAL_MAX = 5000;
		const int INTEGRAL_MIN = -5000;

		/* Integral accumulation */

		integral_M1 += error_M1 * d_time;
		integral_M2 += error_M2 * d_time;

		if (integral_M1 > INTEGRAL_MAX) integral_M1 = INTEGRAL_MAX;
		if (integral_M1 < INTEGRAL_MIN) integral_M1 = INTEGRAL_MIN;

		if (integral_M2 > INTEGRAL_MAX) integral_M2 = INTEGRAL_MAX;
		if (integral_M2 < INTEGRAL_MIN) integral_M2 = INTEGRAL_MIN;

		float derivative_M1 = (error_M1 - last_error_M1) / d_time;
		last_error_M1 = error_M1;

		float derivative_M2 = (error_M2 - last_error_M2) / d_time;
		last_error_M2 = error_M2;

		int Corrected_Vel_M1 =
				(
				(Kp_M1 * error_M1) +
				(Ki_M1 * integral_M1) +
				(Kd_M1 * derivative_M1));

		int Corrected_Vel_M2 =
				(
				(Kp_M2 * error_M2) +
				(Ki_M2 * integral_M2) +
				(Kd_M2 * derivative_M2));

		//if (state == 0){Corrected_Vel_M1 = 0; Corrected_Vel_M2 = 0;}

		dt = Corrected_Vel_M1;

		PWM_M1 += Corrected_Vel_M1;
		PWM_M2 += Corrected_Vel_M2;

		//Clamping
		if (PWM_M1 > 39999) PWM_M1 = 39999;
		if (PWM_M1 < 1000) PWM_M1 = 0;

		if (PWM_M2 > 39999) PWM_M2 = 39999;
		if (PWM_M2 < 1000) PWM_M2 = 0;
		// Apply PWM — each motor independent
		TIM3->CCR1 = PWM_M1;  // Motor 1
		TIM3->CCR2 = PWM_M2;  // Motor 2
	}

	void PID_Servo(float error_serv)
	{
		static float integral = 0;
		static float last_error = 0;

		/* Outer-loop gains must be small */
		static int Kp = 100;
		static int Ki = 0;
		static int Kd = 0;

		/* Anti-windup limits */
		const int INTEGRAL_MAX = 20000;
		const int INTEGRAL_MIN = -20000;

		/* Integral accumulation */

		integral += error_serv * d_time;

		if (integral > INTEGRAL_MAX) integral = INTEGRAL_MAX;
		if (integral < INTEGRAL_MIN) integral = INTEGRAL_MIN;

		float derivative = (error_serv - last_error) / d_time;
		last_error = error_serv;

		uint16_t Corrected_Angle =
				(1900 +
				(Kp * error_serv) +
				(Ki * integral) +
				(Kd * derivative));

		//Clamping
		if (Corrected_Angle > 2800) Corrected_Angle = 2800;
		if (Corrected_Angle < 1000) Corrected_Angle = 1000;

		// Apply PWM
		TIM2->CCR1 = Corrected_Angle;
	}

	void HCSR04_Read (void)
	{
		HAL_GPIO_WritePin(TRIG_PORT, TRIG_PIN, GPIO_PIN_SET);  // pull the TRIG pin HIGH
		HAL_Delay(10);  // wait for 10 us
		HAL_GPIO_WritePin(TRIG_PORT, TRIG_PIN, GPIO_PIN_RESET);  // pull the TRIG pin low

		__HAL_TIM_ENABLE_IT(&htim4, TIM_IT_CC1);
	}

	// -----------------------------------------------------------------------------
	// LECTURA DE IMU
	// -----------------------------------------------------------------------------

	void BNO055_Write(uint8_t reg, uint8_t value)
	{
		HAL_I2C_Mem_Write(&hi2c1, BNO055_ADDR, reg, 1, &value, 1, 100);
	}

	uint8_t BNO055_Read(uint8_t reg)
	{
		uint8_t value;
		HAL_I2C_Mem_Read(&hi2c1, BNO055_ADDR, reg, 1, &value, 1, 100);
		return value;
	}

	void get_head(void)
	{
		uint8_t data[6];
		HAL_I2C_Mem_Read(&hi2c1, BNO055_ADDR, 0x1A, 1, data, 6, 10);

		int16_t heading = (data[1] << 8) | data[0];

		head = heading / 16.0f;

		// Steering servo: compute heading error and run servo PID in main loop
		E_head = (turn - head) * reverse_servo;
		while (E_head > 180.0f) E_head -= 360.0f;
		while (E_head < -180.0f) E_head += 360.0f;

		E_head = turn + E_head;
	}

	void I2C_Scanner(void)
	{
		printf("Scanning I2C bus...\r\n");

		HAL_StatusTypeDef result;
		uint8_t address;

		for (address = 1; address < 128; address++)
		{
			// Dirección 8-bit = address << 1
			result = HAL_I2C_IsDeviceReady(&hi2c1, (address << 1), 1, 20);

			if (result == HAL_OK)
			{
				sprintf(msg," I2C device found at address: 0x%02X (7-bit)\r\n", address);
				HAL_UART_Transmit(&huart3, (uint8_t*)msg, strlen(msg), 100);
			}
		}

		sprintf(msg,"Scan complete.\r\n");
		HAL_UART_Transmit(&huart3, (uint8_t*)msg, strlen(msg), 100);
	}

	//------------------------------------------------------------------------------
	// Telemetria
	// ----------------------------------------------------------------------------

void HAL_UART_RxCpltCallback(UART_HandleTypeDef *huart) {
    if (huart->Instance == USART3) {
    	HAL_UART_Transmit(&huart3, buffer, 1, 0xFFFF);
        uint8_t c = buffer[0];

        // toggle modes
        if (c == 'm') {
            manual_mode = 1;
        }
        else if (c == 'n') {
            manual_mode = 0;
        }

        // manual movement commands
        else if (c == 'w' || c == 'a' || c == 's' || c == 'd') {
            last_cmd = c;
            new_cmd = 1;
        }

        HAL_UART_Receive_IT(&huart3, buffer, 1);
    }
}

	/* USER CODE END 4 */

	/**
	  * @brief  This function is executed in case of error occurrence.
	  * @retval None
	  */
	void Error_Handler(void)
	{
	  __disable_irq();
	  while (1)
	  {
	  }
	}
	#ifdef USE_FULL_ASSERT
	/**
	  * @brief  Reports the name of the source file and the source line number
	  *         where the assert_param error has occurred.
	  * @param  file: pointer to the source file name
	  * @param  line: assert_param error line source number
	  * @retval None
	  */
	void assert_failed(uint8_t *file, uint32_t line)
	{
	}
	#endif /* USE_FULL_ASSERT */
